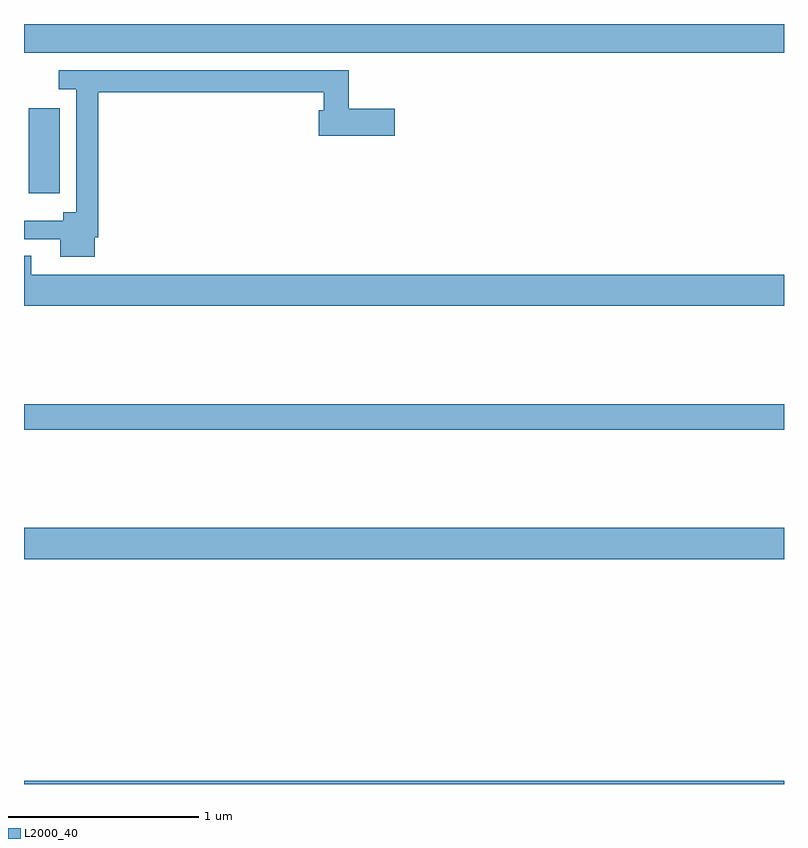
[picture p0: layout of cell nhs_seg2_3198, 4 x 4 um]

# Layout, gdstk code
import gdstk
lib = gdstk.Library(unit=1e-6, precision=1e-09)
def R(c, l, rs):  # rectangles x0, y0, x1, y1
    for r in rs: c.add(gdstk.rectangle(r[:2], r[2:], *l))
def P(c, l, *ps):  # polygons
    for p in ps: c.add(gdstk.Polygon(p, *l))
L2000_40 = (2000, 40)

nhs_seg2_3198 = lib.new_cell('nhs_seg2_3198')
R(nhs_seg2_3198, L2000_40, [(279,631.8,283,631.816), (279,632.984,283,633.148), (279,633.664,283,633.8), (279.026,634.908,279.187,635.356), (279,635.648,283,635.8)])
P(nhs_seg2_3198, L2000_40, [(279.373,634.678),(279.392,634.678),(279.392,635.44),(280.577,635.44),(280.577,635.347),(280.55,635.347),(280.55,635.213),(280.951,635.213),(280.951,635.355),(280.709,635.355),(280.709,635.556),(279.183,635.556),(279.183,635.456),(279.276,635.456),(279.276,634.81),(279.206,634.81),(279.206,634.764),(279,634.764),(279,634.668),(279.191,634.668),(279.191,634.574),(279.373,634.574)],
  [(283,634.48),(279.037,634.48),(279.037,634.579),(279,634.579),(279,634.316),(283,634.316)])

lib.write_gds('nhs_seg2_3198.gds')
